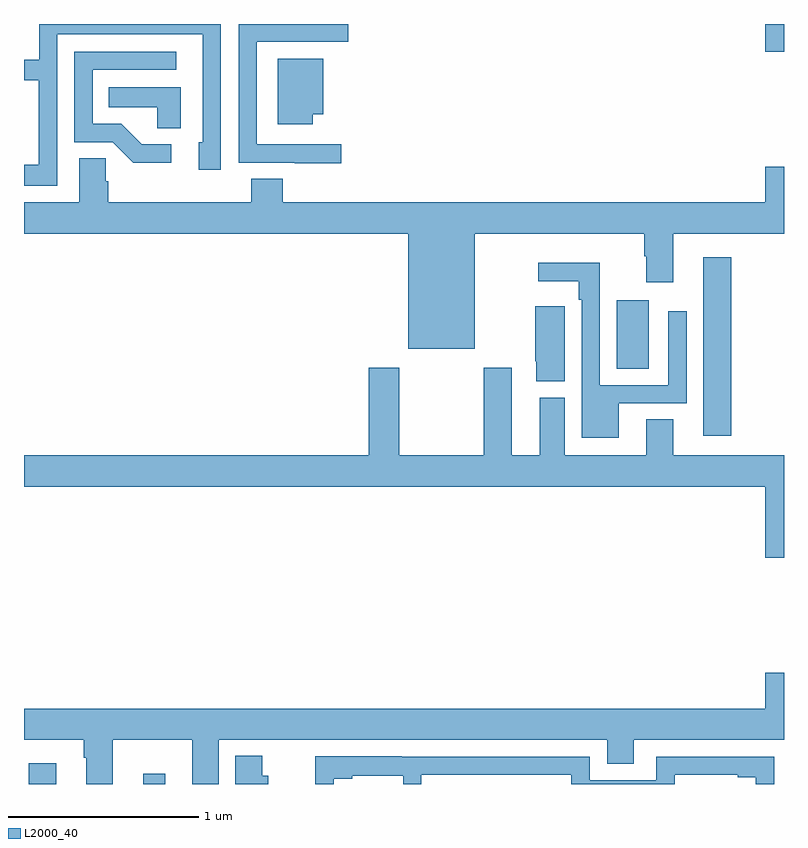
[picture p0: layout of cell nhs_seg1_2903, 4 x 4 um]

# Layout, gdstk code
import gdstk
lib = gdstk.Library(unit=1e-6, precision=1e-09)
def R(c, l, rs):  # rectangles x0, y0, x1, y1
    for r in rs: c.add(gdstk.rectangle(r[:2], r[2:], *l))
def P(c, l, *ps):  # polygons
    for p in ps: c.add(gdstk.Polygon(p, *l))
L2000_40 = (2000, 40)

nhs_seg1_2903 = lib.new_cell('nhs_seg1_2903')
R(nhs_seg1_2903, L2000_40, [(269.024,518.199,269.17,518.308), (269.627,518.199,269.743,518.254), (272.576,520.032,272.723,520.972), (272.12,520.384,272.287,520.746), (272.9,522.054,273,522.199)])
P(nhs_seg1_2903, L2000_40, [(269.175,522.144),(269.94,522.144),(269.94,521.577),(269.921,521.577),(269.921,521.433),(270.036,521.433),(270.036,522.199),(269.079,522.199),(269.079,522.012),(269,522.012),(269,521.904),(269.078,521.904),(269.078,521.458),(269,521.458),(269,521.349),(269.175,521.349)],
  [(270.67,521.565),(270.225,521.565),(270.225,522.105),(270.706,522.105),(270.706,522.199),(270.129,522.199),(270.129,521.469),(270.425,521.469),(270.425,521.465),(270.67,521.465)],
  [(269.776,521.565),(269.619,521.565),(269.511,521.673),(269.361,521.673),(269.361,521.958),(269.8,521.958),(269.8,522.054),(269.265,522.054),(269.265,521.577),(269.466,521.577),(269.576,521.468),(269.776,521.468)],
  [(270.521,521.723),(270.574,521.723),(270.574,522.016),(270.335,522.016),(270.335,521.672),(270.521,521.672)],
  [(269.824,521.866),(269.446,521.866),(269.446,521.762),(269.702,521.762),(269.702,521.65),(269.824,521.65)],
  [(271.372,521.096),(272.264,521.096),(272.264,520.976),(272.276,520.976),(272.276,520.839),(272.416,520.839),(272.416,521.096),(273,521.096),(273,521.449),(272.9,521.449),(272.9,521.26),(270.362,521.26),(270.362,521.384),(270.197,521.384),(270.197,521.26),(269.444,521.26),(269.444,521.372),(269.429,521.372),(269.429,521.492),(269.291,521.492),(269.291,521.26),(269,521.26),(269,521.096),(271.022,521.096),(271.022,520.49),(271.372,520.49)],
  [(272.131,520.203),(272.487,520.203),(272.487,520.687),(272.391,520.687),(272.391,520.299),(272.031,520.299),(272.031,520.942),(271.707,520.942),(271.707,520.844),(271.919,520.844),(271.919,520.748),(271.935,520.748),(271.935,520.022),(272.131,520.022)],
  [(271.846,520.601),(271.845,520.601),(271.845,520.714),(271.69,520.714),(271.69,520.423),(271.697,520.423),(271.697,520.318),(271.846,520.318)],
  [(272.416,520.118),(272.276,520.118),(272.276,519.928),(271.846,519.928),(271.846,520.233),(271.715,520.233),(271.715,519.928),(271.567,519.928),(271.567,520.39),(271.42,520.39),(271.42,519.928),(270.975,519.928),(270.975,520.39),(270.815,520.39),(270.815,519.928),(269,519.928),(269,519.764),(272.9,519.764),(272.9,519.39),(273,519.39),(273,519.928),(272.416,519.928)],
  [(269.467,518.432),(269.885,518.432),(269.885,518.199),(270.025,518.199),(270.025,518.432),(272.069,518.432),(272.069,518.305),(272.209,518.305),(272.209,518.432),(273,518.432),(273,518.785),(272.9,518.785),(272.9,518.596),(269,518.596),(269,518.432),(269.315,518.432),(269.315,518.336),(269.327,518.336),(269.327,518.199),(269.467,518.199)],
  [(270.286,518.242),(270.253,518.242),(270.253,518.347),(270.113,518.347),(270.113,518.199),(270.286,518.199)],
  [(270.631,518.226),(270.727,518.226),(270.727,518.243),(270.996,518.243),(270.996,518.199),(271.092,518.199),(271.092,518.247),(271.881,518.247),(271.881,518.199),(272.424,518.199),(272.424,518.247),(272.756,518.247),(272.756,518.235),(272.852,518.235),(272.852,518.199),(272.949,518.199),(272.949,518.343),(272.328,518.343),(272.328,518.22),(271.977,518.22),(271.977,518.343),(270.989,518.343),(270.989,518.344),(270.532,518.344),(270.532,518.199),(270.631,518.199)])

lib.write_gds('nhs_seg1_2903.gds')
